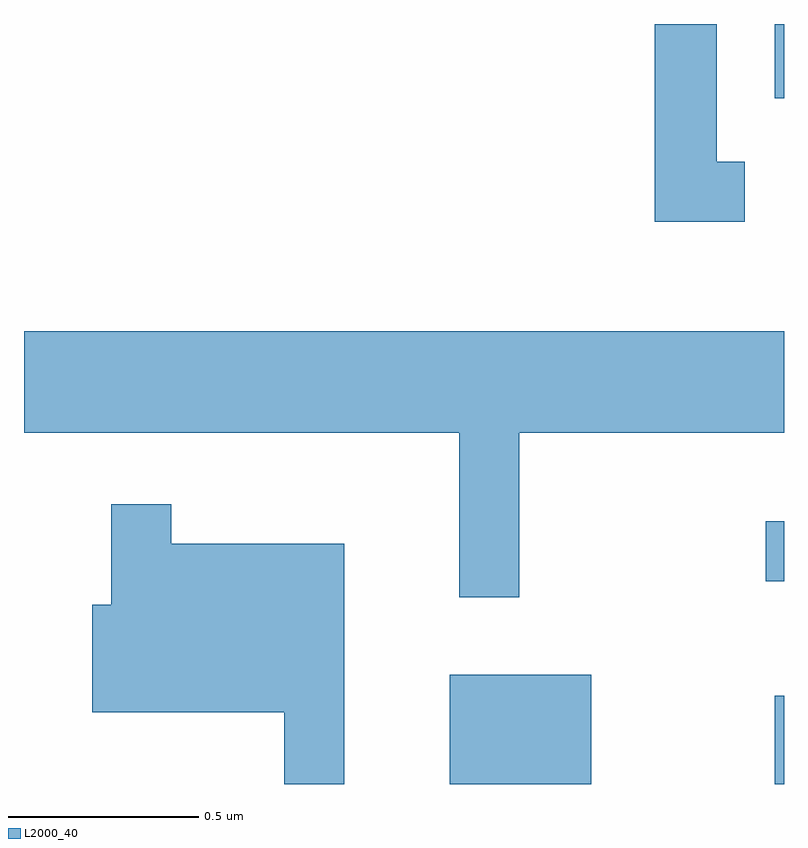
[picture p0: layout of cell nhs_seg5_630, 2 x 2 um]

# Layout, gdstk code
import gdstk
lib = gdstk.Library(unit=1e-6, precision=1e-09)
def R(c, l, rs):  # rectangles x0, y0, x1, y1
    for r in rs: c.add(gdstk.rectangle(r[:2], r[2:], *l))
def P(c, l, *ps):  # polygons
    for p in ps: c.add(gdstk.Polygon(p, *l))
L2000_40 = (2000, 40)

nhs_seg5_630 = lib.new_cell('nhs_seg5_630')
R(nhs_seg5_630, L2000_40, [(190.731,1478.072,191.104,1478.359), (191.586,1478.072,191.611,1478.304), (191.563,1478.606,191.611,1478.764), (191.586,1479.876,191.611,1480.072)])
P(nhs_seg5_630, L2000_40, [(191.508,1479.709),(191.434,1479.709),(191.434,1480.072),(191.271,1480.072),(191.271,1479.551),(191.508,1479.551)],
  [(190.914,1478.996),(191.611,1478.996),(191.611,1479.264),(189.611,1479.264),(189.611,1478.996),(190.756,1478.996),(190.756,1478.563),(190.914,1478.563)],
  [(190.454,1478.704),(189.999,1478.704),(189.999,1478.808),(189.841,1478.808),(189.841,1478.544),(189.791,1478.544),(189.791,1478.261),(190.296,1478.261),(190.296,1478.072),(190.454,1478.072)])

lib.write_gds('nhs_seg5_630.gds')
